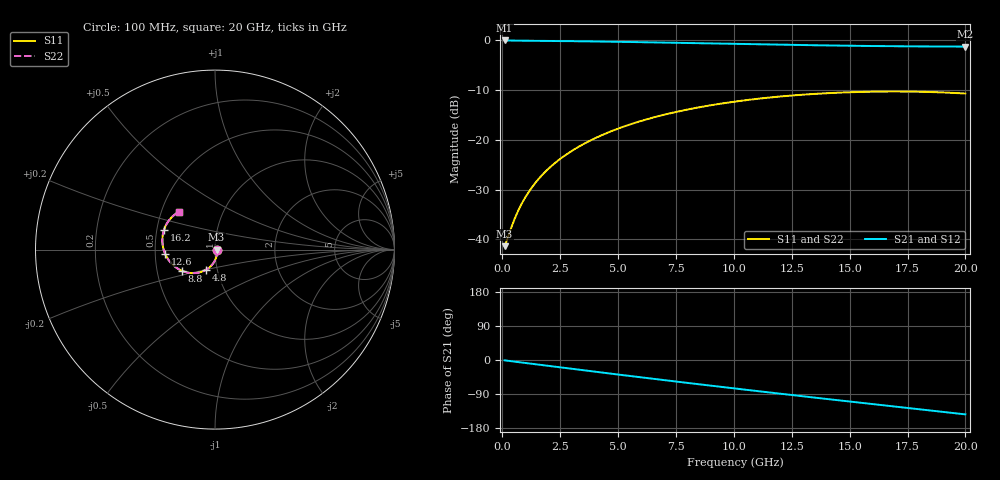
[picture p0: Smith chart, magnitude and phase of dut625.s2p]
! Touchstone file exported from HFSS 2026.1.0
!  File:  C:/ffzhzh/LocalFiles/Ansys_Project_Files/temp_train_TSV_RDL_625_1783125293_35180.aedt
!  Generated:  08:42:01 AM Jul  4, 2026
!  Design:  TSV_RDL
!  Project:  temp_train_TSV_RDL_625_1783125293_35180
! Variables:
!  h_bsmrdl = 4.66um
!  h_ox = 20um
!  h_rdl = 5um
!  h_sub = 61.03um
!  h_tmrdl = 4.32um
!  h_tsv = 61.03um
!  h_via = 3um
!  l_bsmrdl = 329.35um
!  l_sub = 2137.13um
!  l_tmrdl = 157.48um
!  m_sub = 200um
!  pitch = 27.74um
!  r_tsv = 9.95um
!  s_tmrdl = 10um
!  w_bsmrdl = 26.52um
!  w_sub = 500um
!  w_tmrdl = 13.2um
!  x_tsv_center1 = 164.08um
!  x_tsv_center2 = 519.95um
!  x_tsv_center3 = 690.63um
!  x_tsv_center4 = 1046.5um
!  x_tsv_center5 = 1217.18um
!  x_tsv_center6 = 1573.05um
# GHz S MA R 50.000000
! Terminal data exported
! Port[1] = TM_RDL1_1_T1
! Port[2] = TM_RDL5_1_T1
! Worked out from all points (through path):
!   200 points, 100 MHz to 20 GHz, reference 50 ohm
!   highest |S21| = -0.07 dB at 100 MHz (marker M1); lowest = -1.3 dB at 20 GHz (marker M2)
!   group delay of S21, straight-line fit = 19.8 ps
!   lowest |S11| = -41.3 dB at 100 MHz (marker M3), VSWR 1.02, Z = 50.9 - j0.0993 ohm
!   |S11| at or under -10 dB: start of sweep to end of sweep
!   |S22| runs from -41.3 to -10.3 dB; largest |S21 - S12| = 1.4e-13
!   S11 on the Smith chart (normalised r, x): 100 MHz: 1.02, -0.00; 4.8 GHz: 0.88, -0.20; 8.8 GHz: 0.67, -0.17; 12.6 GHz: 0.56, -0.03; 16.2 GHz: 0.55, +0.13; 20 GHz: 0.62, +0.28
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0.1  0.008566 -6.5  0.9915 -0.9  0.9915 -0.9  0.008566 -6.5
! Gamma 0 0 0 0
! Port Impedance 50 0 50 0
0.5  0.01539 -41.2  0.9876 -4.1  0.9876 -4.1  0.01539 -41.2
0.7  0.0197 -53.2  0.9864 -5.6  0.9864 -5.6  0.0197 -53.2
1  0.0266 -65.2  0.9851 -7.9  0.9851 -7.9  0.0266 -65.2
1.4  0.0363 -75.4  0.9836 -11.0  0.9836 -11.0  0.0363 -75.4
1.8  0.04632 -82.7  0.9819 -14.1  0.9819 -14.1  0.04633 -82.6
2.3  0.05912 -89.6  0.9794 -17.9  0.9794 -17.9  0.05913 -89.6
2.9  0.07471 -96.5  0.976 -22.5  0.976 -22.5  0.07472 -96.5
3.5  0.09041 -102.6  0.9723 -27.1  0.9723 -27.1  0.09042 -102.6
4.8  0.1243 -114.4  0.9628 -36.9  0.9628 -36.9  0.1243 -114.4
5.8  0.1496 -122.9  0.9547 -44.3  0.9547 -44.3  0.1496 -122.9
6.8  0.1739 -131.1  0.9461 -51.7  0.9461 -51.7  0.1739 -131.1
8.8  0.2179 -147.0  0.9279 -66.3  0.9279 -66.3  0.218 -146.9
10.1  0.2425 -156.9  0.916 -75.6  0.916 -75.6  0.2426 -156.8
11.3  0.2619 -165.9  0.9053 -84.0  0.9053 -84.0  0.262 -165.8
12.6  0.2791 -175.4  0.8944 -93.1  0.8944 -93.1  0.2792 -175.3
13.4  0.2877 178.8  0.8882 -98.6  0.8882 -98.6  0.2878 178.9
14.8  0.2986 168.9  0.8786 -108.3  0.8786 -108.3  0.2987 169.0
16.2  0.3043 159.2  0.8708 -117.8  0.8708 -117.8  0.3044 159.3
16.7  0.305 155.8  0.8686 -121.2  0.8686 -121.2  0.3051 155.9
18.3  0.3023 144.9  0.8631 -132.0  0.8631 -132.0  0.3024 145.0
20  0.2908 133.6  0.8606 -143.6  0.8606 -143.6  0.2909 133.7
